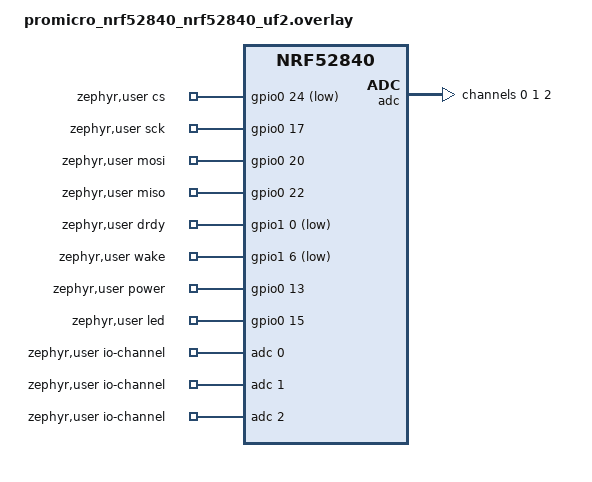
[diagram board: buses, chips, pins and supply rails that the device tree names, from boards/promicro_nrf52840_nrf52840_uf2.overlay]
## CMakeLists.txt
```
cmake_minimum_required(VERSION 3.20.0)
find_package(Zephyr REQUIRED HINTS $ENV{ZEPHYR_BASE})
project(sim_pedals)

target_include_directories(app PRIVATE ${CMAKE_CURRENT_SOURCE_DIR}/../common)
target_sources(app PRIVATE src/main.c src/ads1220.c)
```

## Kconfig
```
menu "Sim pedals"

config PEDALS_IDLE_MINUTES
	int "Default idle time before power off (minutes, 0 = never)"
	default 20

config PEDALS_ACTIVITY_THR_ADS
	int "Brake movement threshold for 'activity' (ADS1220 counts)"
	default 6000

config PEDALS_ACTIVITY_THR_ADC
	int "Clutch/throttle movement threshold for 'activity' (14-bit counts)"
	default 40

config PEDALS_EXT_POWER_CTRL
	bool "Switch sensor power rail (nice!nano VCC pin) with P0.13"
	default y
	help
	  Powers the sensors only while awake. UNVERIFIED polarity: assumed HIGH = on.
	  If the sensors stay dead, flip PEDALS_EXT_POWER_ACTIVE_HIGH.

config PEDALS_EXT_POWER_ACTIVE_HIGH
	bool "P0.13 HIGH enables the VCC pin"
	default y

config PEDALS_BATT_SENSE
	bool "Read battery voltage on P0.04 (AIN2, nice!nano divider 2:1)"
	default y

config PEDALS_LOW_BATT_MV
	int "Low battery flag threshold (mV)"
	default 3500

endmenu

source "Kconfig.zephyr"
```

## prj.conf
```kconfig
CONFIG_ESB=y
CONFIG_CLOCK_CONTROL=y
CONFIG_GPIO=y
CONFIG_SPI=n
CONFIG_ADC=y
CONFIG_POWEROFF=y
CONFIG_HWINFO=y
CONFIG_SERIAL=n
CONFIG_CONSOLE=n
CONFIG_UART_CONSOLE=n
CONFIG_LOG=n
CONFIG_PRINTK=n
CONFIG_USB_DEVICE_STACK=n
CONFIG_USB_DEVICE_STACK_NEXT=n
CONFIG_ESB_MAX_PAYLOAD_LENGTH=32
CONFIG_ESB_TX_FIFO_SIZE=4
CONFIG_ESB_RX_FIFO_SIZE=4
CONFIG_ESB_PIPE_COUNT=8
CONFIG_MAIN_STACK_SIZE=2048
CONFIG_BUILD_OUTPUT_UF2=y

# 32 kHz source: RC is safe on clones without the 32.768 kHz crystal
CONFIG_CLOCK_CONTROL_NRF_K32SRC_RC=y
CONFIG_CLOCK_CONTROL_NRF_K32SRC_500PPM=y
```

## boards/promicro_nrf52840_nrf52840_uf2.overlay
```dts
/* Pedals pin map (nice!nano v2 / ProMicro nRF52840 pinout, Pro Micro labels in brackets)
 *
 *  ADS1220 (brake load cell)       nRF pin   Pro Micro
 *    SCLK                          P0.17      D2
 *    DIN  (MOSI)                   P0.20      D3
 *    DOUT (MISO)                   P0.22      D4
 *    CS                            P0.24      D5
 *    DRDY                          P1.00      D6
 *  Clutch SS49E out                P0.31      A0 (21)  AIN7
 *  Throttle SS49E out              P0.29      A1 (20)  AIN5
 *  Battery divider (on board)      P0.04               AIN2
 *  Wake button (to GND)            P1.06      D9       (reset button also wakes)
 *  Sensor rail switch (on board)   P0.13
 *  LED (on board)                  P0.15
 */
#include <zephyr/dt-bindings/adc/adc.h>
#include <zephyr/dt-bindings/adc/nrf-saadc.h>
#include <zephyr/dt-bindings/gpio/gpio.h>

&uart0 { status = "disabled"; };
&i2c0  { status = "disabled"; };
&i2c1  { status = "disabled"; };
&pwm0  { status = "disabled"; };
&ieee802154 { status = "disabled"; };

/* ADS1220 is driven by software SPI on plain GPIO (see ads1220.c), no SPI peripheral needed */

&adc {
	#address-cells = <1>;
	#size-cells = <0>;

	channel@0 {   /* clutch */
		reg = <0>;
		zephyr,gain = "ADC_GAIN_1_6";
		zephyr,reference = "ADC_REF_INTERNAL";
		zephyr,vref-mv = <600>;
		zephyr,acquisition-time = <ADC_ACQ_TIME(ADC_ACQ_TIME_MICROSECONDS, 5)>;
		zephyr,input-positive = <NRF_SAADC_AIN7>;
		zephyr,resolution = <14>;
		zephyr,oversampling = <3>;
	};
	channel@1 {   /* throttle */
		reg = <1>;
		zephyr,gain = "ADC_GAIN_1_6";
		zephyr,reference = "ADC_REF_INTERNAL";
		zephyr,vref-mv = <600>;
		zephyr,acquisition-time = <ADC_ACQ_TIME(ADC_ACQ_TIME_MICROSECONDS, 5)>;
		zephyr,input-positive = <NRF_SAADC_AIN5>;
		zephyr,resolution = <14>;
		zephyr,oversampling = <3>;
	};
	channel@2 {   /* battery (divider 1:1 on nice!nano, 10 us is plenty for 1M... use 40 us) */
		reg = <2>;
		zephyr,gain = "ADC_GAIN_1_6";
		zephyr,reference = "ADC_REF_INTERNAL";
		zephyr,vref-mv = <600>;
		zephyr,acquisition-time = <ADC_ACQ_TIME(ADC_ACQ_TIME_MICROSECONDS, 40)>;
		zephyr,input-positive = <NRF_SAADC_AIN2>;
		zephyr,resolution = <12>;
	};
};

/ {
	zephyr,user {
		io-channels = <&adc 0>, <&adc 1>, <&adc 2>;
		cs-gpios    = <&gpio0 24 GPIO_ACTIVE_LOW>;
		sck-gpios   = <&gpio0 17 GPIO_ACTIVE_HIGH>;
		mosi-gpios  = <&gpio0 20 GPIO_ACTIVE_HIGH>;
		miso-gpios  = <&gpio0 22 GPIO_ACTIVE_HIGH>;
		drdy-gpios  = <&gpio1 0 (GPIO_ACTIVE_LOW | GPIO_PULL_UP)>;
		wake-gpios  = <&gpio1 6 (GPIO_ACTIVE_LOW | GPIO_PULL_UP)>;
		power-gpios = <&gpio0 13 GPIO_ACTIVE_HIGH>;
		led-gpios   = <&gpio0 15 GPIO_ACTIVE_HIGH>;
	};
};
```

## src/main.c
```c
/*
 * Sim pedals firmware (nRF52840, NCS 3.1.x / Zephyr)
 *   clutch, throttle : SS49E Hall sensors -> SAADC (14-bit, 16x oversampling)
 *   brake            : ADS1220 + load cell, 24-bit, 1000 SPS (drives the packet rate)
 *   link             : Nordic ESB PTX, 2 Mbps, one packet per ADS1220 sample (~1 kHz)
 *   power            : System OFF after idle timeout (default 20 min), wake by button / reset
 */
#include <stdlib.h>
#include <zephyr/kernel.h>
#include <zephyr/device.h>
#include <zephyr/drivers/gpio.h>
#include <zephyr/drivers/adc.h>
#include <zephyr/drivers/clock_control/nrf_clock_control.h>
#include <zephyr/sys/poweroff.h>
#include <nrf.h>
#include <esb.h>
#include "pedal_protocol.h"
#include "ads1220.h"

#define ZU DT_PATH(zephyr_user)

static const struct gpio_dt_spec g_drdy  = GPIO_DT_SPEC_GET(ZU, drdy_gpios);
static const struct gpio_dt_spec g_wake  = GPIO_DT_SPEC_GET(ZU, wake_gpios);
static const struct gpio_dt_spec g_power = GPIO_DT_SPEC_GET(ZU, power_gpios);
static const struct gpio_dt_spec g_led   = GPIO_DT_SPEC_GET(ZU, led_gpios);

static const struct adc_dt_spec adc_clutch   = ADC_DT_SPEC_GET_BY_IDX(ZU, 0);
static const struct adc_dt_spec adc_throttle = ADC_DT_SPEC_GET_BY_IDX(ZU, 1);
static const struct adc_dt_spec adc_batt     = ADC_DT_SPEC_GET_BY_IDX(ZU, 2);

static struct ads1220 ads = {
	.cs = GPIO_DT_SPEC_GET(ZU, cs_gpios),
	.sck = GPIO_DT_SPEC_GET(ZU, sck_gpios),
	.mosi = GPIO_DT_SPEC_GET(ZU, mosi_gpios),
	.miso = GPIO_DT_SPEC_GET(ZU, miso_gpios),
};

static K_SEM_DEFINE(drdy_sem, 0, 1);
static struct gpio_callback drdy_cb;

static volatile uint32_t idle_minutes = CONFIG_PEDALS_IDLE_MINUTES;
static volatile bool sleep_requested;
static volatile int64_t last_ack_ms;

/* ---------------------------------------------------------------- power rail */
static void rail(bool on)
{
#if CONFIG_PEDALS_EXT_POWER_CTRL
	bool level = on ? IS_ENABLED(CONFIG_PEDALS_EXT_POWER_ACTIVE_HIGH)
			: !IS_ENABLED(CONFIG_PEDALS_EXT_POWER_ACTIVE_HIGH);
	gpio_pin_configure_dt(&g_power, GPIO_OUTPUT);
	gpio_pin_set_raw(g_power.port, g_power.pin, level ? 1 : 0);
#else
	ARG_UNUSED(on);
#endif
}

static void go_sleep(void)
{
	ads1220_powerdown(&ads);
	esb_disable();
	gpio_pin_set_dt(&g_led, 0);
	rail(false);

	/* wake on button press (also: the reset button always wakes the board) */
	while (gpio_pin_get_dt(&g_wake) > 0) {
		k_msleep(20);                 /* wait until released, else instant wake */
	}
	gpio_pin_configure_dt(&g_wake, GPIO_INPUT);
	gpio_pin_interrupt_configure_dt(&g_wake, GPIO_INT_LEVEL_ACTIVE);
	sys_poweroff();
}

/* ---------------------------------------------------------------- ESB */
static void esb_handler(struct esb_evt const *ev)
{
	static struct esb_payload rx;

	switch (ev->evt_id) {
	case ESB_EVENT_TX_FAILED:
		esb_flush_tx();      /* never retry stale data */
		break;
	case ESB_EVENT_RX_RECEIVED:
		while (esb_read_rx_payload(&rx) == 0) {
			if (rx.length >= sizeof(struct pp_ack) && rx.data[0] == PP_PKT_ACK) {
				const struct pp_ack *a = (const struct pp_ack *)rx.data;

				last_ack_ms = k_uptime_get();
				if (a->cmd == PP_CMD_SLEEP) {
					sleep_requested = true;
				} else if (a->cmd == PP_CMD_SET_IDLE) {
					idle_minutes = a->p0;
				}
			}
		}
		break;
	default:
		break;
	}
}

static int clocks_start(void)
{
	struct onoff_manager *mgr = z_nrf_clock_control_get_onoff(CLOCK_CONTROL_NRF_SUBSYS_HF);
	struct onoff_client cli;
	int res, err;

	if (!mgr) {
		return -ENXIO;
	}
	sys_notify_init_spinwait(&cli.notify);
	err = onoff_request(mgr, &cli);
	if (err < 0) {
		return err;
	}
	do {
		err = sys_notify_fetch_result(&cli.notify, &res);
	} while (err == -EAGAIN);
	return err ? err : res;
}

static int radio_init(void)
{
	uint8_t b0[4] = PP_BASE_ADDR_0, b1[4] = PP_BASE_ADDR_1, pf[8] = PP_PREFIXES;
	struct esb_config c = ESB_DEFAULT_CONFIG;
	int err;

	c.protocol = ESB_PROTOCOL_ESB_DPL;
	c.mode = ESB_MODE_PTX;
	c.event_handler = esb_handler;
	c.bitrate = ESB_BITRATE_2MBPS;
	c.crc = ESB_CRC_16BIT;
	c.tx_output_power = 4;
	c.retransmit_delay = 600;   /* must exceed packet + ACK airtime incl. radio ramp-up */
	c.retransmit_count = 1;
	c.tx_mode = ESB_TXMODE_AUTO;
	c.selective_auto_ack = false;

	if ((err = esb_init(&c)) || (err = esb_set_base_address_0(b0)) ||
	    (err = esb_set_base_address_1(b1)) || (err = esb_set_prefixes(pf, 8)) ||
	    (err = esb_set_rf_channel(PP_RF_CHANNEL))) {
		return err;
	}
	return 0;
}

/* ---------------------------------------------------------------- sensors */
static int read_adc14(const struct adc_dt_spec *s)
{
	int16_t buf = 0;
	struct adc_sequence seq = {.buffer = &buf, .buffer_size = sizeof(buf)};

	adc_sequence_init_dt(s, &seq);
	if (adc_read_dt(s, &seq)) {
		return -1;
	}
	return buf < 0 ? 0 : buf;
}

static uint8_t read_batt_20mv(void)
{
#if CONFIG_PEDALS_BATT_SENSE
	int16_t buf = 0;
	struct adc_sequence seq = {.buffer = &buf, .buffer_size = sizeof(buf)};
	int32_t mv;

	adc_sequence_init_dt(&adc_batt, &seq);
	if (adc_read_dt(&adc_batt, &seq)) {
		return 0;
	}
	mv = buf;
	if (adc_raw_to_millivolts_dt(&adc_batt, &mv)) {
		return 0;
	}
	mv *= 2;                         /* on-board 1:1 divider (verify with a multimeter) */
	if (mv < 2500) {
		return 0;                /* no battery connected: unknown, no LOW flag */
	}
	return (uint8_t)MIN(mv / 20, 255);
#else
	return 0;
#endif
}

static void drdy_isr(const struct device *d, struct gpio_callback *cb, uint32_t pins)
{
	k_sem_give(&drdy_sem);
}

/* LED: no link = 100 ms blip every 0.5 s; link OK = one 15 ms blip every 3 s;
 * link OK but ADS1220 not working = two blips every 3 s */
static void led_blip(bool linked, bool ads_ok, int64_t now)
{
	if (!linked) {
		gpio_pin_set_dt(&g_led, (now % 500) < 100);
		return;
	}
	int64_t p = now % 3000;

	gpio_pin_set_dt(&g_led, p < 15 || (!ads_ok && p >= 150 && p < 165));
}

int main(void)
{
	bool ads_ok = false;
	int32_t brake = 0;
	uint8_t seq = 0, batt = 0;
	int ref_c = 0, ref_t = 0;
	int32_t ref_b = 0;
	uint32_t n = 0, miss = 0;
	int64_t last_act = k_uptime_get(), last_ads_try = -1000;
	struct esb_payload tx = {.pipe = PP_DEV_PEDALS};
	struct pp_data *pkt = (struct pp_data *)tx.data;

	gpio_pin_configure_dt(&g_led, GPIO_OUTPUT_INACTIVE);
	gpio_pin_configure_dt(&g_wake, GPIO_INPUT);
	gpio_pin_configure_dt(&g_drdy, GPIO_INPUT);
	rail(true);
	k_msleep(50);                            /* sensors power up */

	adc_channel_setup_dt(&adc_clutch);
	adc_channel_setup_dt(&adc_throttle);
#if CONFIG_PEDALS_BATT_SENSE
	adc_channel_setup_dt(&adc_batt);
#endif

	if (clocks_start() || radio_init()) {
		/* radio failed: fast LED, nothing else to do */
		for (;;) {
			gpio_pin_toggle_dt(&g_led);
			k_msleep(80);
		}
	}

	gpio_init_callback(&drdy_cb, drdy_isr, BIT(g_drdy.pin));
	gpio_add_callback(g_drdy.port, &drdy_cb);
	gpio_pin_interrupt_configure_dt(&g_drdy, GPIO_INT_EDGE_TO_ACTIVE);

	ref_c = read_adc14(&adc_clutch);
	ref_t = read_adc14(&adc_throttle);
	batt = read_batt_20mv();

	pkt->type = PP_PKT_DATA;
	pkt->dev_type = PP_DEV_PEDALS;
	pkt->uid = NRF_FICR->DEVICEID[0];

	for (;;) {
		int64_t now = k_uptime_get();

		/* (re)initialise the ADS1220 every 500 ms while it is not OK */
		if (!ads_ok && now - last_ads_try >= 500) {
			last_ads_try = now;
			ads_ok = (ads1220_init(&ads) == 0);
			miss = 0;
		}

		/* The radio never waits for the sensor chip: at most 2 ms per loop. */
		bool got = k_sem_take(&drdy_sem, K_MSEC(2)) == 0;
		bool drdy_active = gpio_pin_get_dt(&g_drdy) > 0; /* ACTIVE_LOW: active means physical LOW */

		if (ads_ok) {
			if (got || drdy_active) {
				miss = 0;
				if (ads1220_read(&ads, &brake)) {
					ads_ok = false;
					ads_diag.err = ADS_ERR_SPI;
				}
			} else if (++miss > 20) {            /* ~40 ms without a conversion */
				ads_ok = false;
				ads_diag.err = ADS_ERR_DRDY;
			}
		}
		if (!ads_ok) {
			brake = 0;
		}

		int c = read_adc14(&adc_clutch);
		int t = read_adc14(&adc_throttle);

		if (c < 0) c = 0;
		if (t < 0) t = 0;

		if ((n++ % 1000) == 0) {
			batt = read_batt_20mv();
		}

		/* activity detection */
		if (abs(c - ref_c) > CONFIG_PEDALS_ACTIVITY_THR_ADC) { ref_c = c; last_act = now; }
		if (abs(t - ref_t) > CONFIG_PEDALS_ACTIVITY_THR_ADC) { ref_t = t; last_act = now; }
		if (ads_ok && abs(brake - ref_b) > CONFIG_PEDALS_ACTIVITY_THR_ADS) {
			ref_b = brake; last_act = now;
		}

		pkt->seq = seq++;
		pkt->flags = (ads_ok ? 0 : (PP_FLAG_SENSOR_ERR | PP_FLAG_DIAG_EXT)) |
			     ((batt && batt * 20 < CONFIG_PEDALS_LOW_BATT_MV) ? PP_FLAG_LOW_BATT : 0);
		pkt->batt_20mv = batt;
		pkt->n_axes = 3; /* clutch, throttle, brake only */
		pp_put_i24(&pkt->axes[0], c);
		pp_put_i24(&pkt->axes[3], t);
		pp_put_i24(&pkt->axes[6], brake);
		if (!ads_ok) {
			struct pp_diag *diag = (struct pp_diag *)&pkt->axes[9];
			diag->error = ads_diag.err;
			diag->drdy_active = (drdy_active ? 1 : 0) | (ads_diag.miso_idle_high ? 2 : 0);
			diag->tries = ads_diag.tries;
			memcpy(diag->regs, ads_diag.regs, sizeof(diag->regs));
		}
		tx.length = ads_ok ? PP_DATA_LEN(pkt->n_axes) : PP_DATA_DIAG_LEN(pkt->n_axes);

		if (esb_tx_full()) {
			esb_flush_tx();
		}
		esb_write_payload(&tx);

		led_blip((now - last_ack_ms) < 300, ads_ok, now);

		if (sleep_requested ||
		    (idle_minutes && (now - last_act) > (int64_t)idle_minutes * 60000)) {
			go_sleep();
		}
	}
	return 0;
}
```

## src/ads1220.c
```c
/*
 * ADS1220 GPIO-SPI driver for a 4-wire load cell (NA151 etc.).
 * SPI mode 1: SCLK idles LOW, DIN is latched on falling edges, DOUT shifts
 * on rising edges. DIN is set while SCLK is low; DOUT is sampled after fall.
 * Every GPIO call is checked and the bus is returned to idle on failure.
 */
#include <errno.h>
#include <string.h>
#include <zephyr/kernel.h>
#include <zephyr/drivers/gpio.h>
#include "ads1220.h"

#define CMD_RESET  0x06
#define CMD_START  0x08
#define CMD_PWRDWN 0x02
#define CMD_RREG(r, n) (0x20 | ((r) << 2) | ((n) - 1))
#define CMD_WREG(r, n) (0x40 | ((r) << 2) | ((n) - 1))
#define REG0_VAL 0x0E /* AIN0-AIN1, gain 128, PGA enabled */
#define REG1_VAL 0xC4 /* 1000 SPS, normal mode, continuous conversion */
#define REG2_VAL 0xC0 /* AVDD/AVSS reference */
#define REG3_VAL 0x00 /* no IDAC routing, dedicated DRDY mode */
#define HALF_US 2     /* moderate timing margin; GPIO call overhead lowers the real SCLK further */

struct ads_diag ads_diag;

static int sw_byte(struct ads1220 *a, uint8_t out, uint8_t *in)
{
	uint8_t value = 0;
	for (int i = 7; i >= 0; --i) {
		int ret = gpio_pin_set_dt(&a->mosi, (out >> i) & 1);
		if (ret < 0) return ret;
		k_busy_wait(HALF_US);
		ret = gpio_pin_set_dt(&a->sck, 1);
		if (ret < 0) return ret;
		k_busy_wait(HALF_US);
		ret = gpio_pin_set_dt(&a->sck, 0);
		if (ret < 0) return ret;
		k_busy_wait(HALF_US);
		/* DOUT has already shifted on rising edge and remains stable through falling edge. */
		ret = gpio_pin_get_dt(&a->miso);
		if (ret < 0) return ret;
		value = (uint8_t)((value << 1) | (ret ? 1U : 0U));
	}
	/* A short margin between bytes; ADS1220 specifies a maximum SPI timeout, not a 4-tCLK minimum. */
	k_busy_wait(2);
	*in = value;
	return 0;
}

static int xfer(struct ads1220 *a, const uint8_t *tx, uint8_t *rx, size_t n)
{
	int ret = gpio_pin_set_dt(&a->sck, 0);
	if (ret < 0) return ret;
	ret = gpio_pin_set_dt(&a->mosi, 0);
	if (ret < 0) return ret;
	ret = gpio_pin_set_dt(&a->cs, 1); /* logical active = physical LOW (GPIO_ACTIVE_LOW) */
	if (ret < 0) {
		(void)gpio_pin_set_dt(&a->cs, 0);
		return ret;
	}
	k_busy_wait(2); /* CS setup margin, greater than the TI 50-ns minimum */

	for (size_t i = 0; i < n; ++i) {
		uint8_t value = 0;
		ret = sw_byte(a, tx[i], &value);
		if (ret < 0) break;
		if (rx != NULL) rx[i] = value;
	}

	/* Always deassert CS and restore idle clock/data even after transfer failure. */
	int sck_ret = gpio_pin_set_dt(&a->sck, 0);
	int mosi_ret = gpio_pin_set_dt(&a->mosi, 0);
	int cs_ret = gpio_pin_set_dt(&a->cs, 0); /* logical inactive = physical HIGH */
	if (ret == 0 && sck_ret < 0) ret = sck_ret;
	if (ret == 0 && mosi_ret < 0) ret = mosi_ret;
	if (ret == 0 && cs_ret < 0) ret = cs_ret;
	k_busy_wait(2); /* CS hold margin, greater than the TI 25-ns minimum */
	return ret;
}

int ads1220_init(struct ads1220 *a)
{
	const uint8_t reset = CMD_RESET, start = CMD_START;
	const uint8_t write_regs[5] = {CMD_WREG(0, 4), REG0_VAL, REG1_VAL, REG2_VAL, REG3_VAL};
	const uint8_t read_regs[5] = {CMD_RREG(0, 4), 0, 0, 0, 0};
	uint8_t back[5] = {0};
	int ret;

	if (ads_diag.tries < UINT8_MAX) ads_diag.tries++;
	ads_diag.err = ADS_ERR_DEV;
	ads_diag.miso_idle_high = 0;
	memset(ads_diag.regs, 0, sizeof(ads_diag.regs));
	if (!gpio_is_ready_dt(&a->cs) || !gpio_is_ready_dt(&a->sck) ||
	    !gpio_is_ready_dt(&a->mosi) || !gpio_is_ready_dt(&a->miso)) return -ENODEV;

	ret = gpio_pin_configure_dt(&a->cs, GPIO_OUTPUT_INACTIVE);
	if (ret < 0) return ret;
	ret = gpio_pin_configure_dt(&a->sck, GPIO_OUTPUT_INACTIVE);
	if (ret < 0) return ret;
	ret = gpio_pin_configure_dt(&a->mosi, GPIO_OUTPUT_INACTIVE);
	if (ret < 0) return ret;
	ret = gpio_pin_configure_dt(&a->miso, GPIO_INPUT | GPIO_PULL_UP);
	if (ret < 0) return ret;

	/*
	 * DOUT/DRDY is high-impedance whenever CS is inactive. Enable the nRF
	 * pull-up and verify the idle level before sending any commands.
	 * LOW here means MISO is shorted/held low or the selected GPIO is wrong.
	 */
	k_busy_wait(2);
	ret = gpio_pin_get_dt(&a->miso);
	if (ret < 0) { ads_diag.err = ADS_ERR_SPI; return ret; }
	ads_diag.miso_idle_high = ret ? 1 : 0;
	if (!ads_diag.miso_idle_high) {
		ads_diag.err = ADS_ERR_MISO_LOW_IDLE;
		return -EIO;
	}

	/* Datasheet power-up requirement is 2^14 master clocks; rail was enabled first. */
	k_msleep(5);
	ret = xfer(a, &reset, NULL, 1);
	if (ret < 0) { ads_diag.err = ADS_ERR_SPI; return ret; }
	k_msleep(2);
	ret = xfer(a, write_regs, NULL, sizeof(write_regs));
	if (ret < 0) { ads_diag.err = ADS_ERR_SPI; return ret; }
	k_busy_wait(20);
	ret = xfer(a, read_regs, back, sizeof(read_regs));
	if (ret < 0) { ads_diag.err = ADS_ERR_SPI; return ret; }

	for (int i = 0; i < 4; ++i) ads_diag.regs[i] = back[i + 1];
	if (back[1] != REG0_VAL || back[2] != REG1_VAL ||
	    back[3] != REG2_VAL || back[4] != REG3_VAL) {
		ads_diag.err = ADS_ERR_REGS;
		return -EIO;
	}
	ret = xfer(a, &start, NULL, 1);
	if (ret < 0) { ads_diag.err = ADS_ERR_SPI; return ret; }
	ads_diag.err = ADS_OK;
	return 0;
}

int ads1220_read(struct ads1220 *a, int32_t *out)
{
	const uint8_t tx[3] = {0, 0, 0};
	uint8_t rx[3] = {0, 0, 0};
	int ret;
	if (out == NULL) return -EINVAL;
	/* Continuous conversion: after DRDY falls, read data directly; no RDATA command. */
	ret = xfer(a, tx, rx, sizeof(tx));
	if (ret < 0) return ret;
	int32_t value = ((int32_t)rx[0] << 16) | ((int32_t)rx[1] << 8) | (int32_t)rx[2];
	if (value & 0x800000) value -= 0x1000000;
	*out = value;
	return 0;
}

void ads1220_powerdown(struct ads1220 *a)
{
	const uint8_t cmd = CMD_PWRDWN;
	(void)xfer(a, &cmd, NULL, 1);
}
```

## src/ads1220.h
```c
#ifndef ADS1220_H
#define ADS1220_H
#include <zephyr/device.h>
#include <zephyr/drivers/gpio.h>
#include <stdint.h>

/* Software (bit-banged) SPI mode 1 on plain GPIO: no Zephyr SPI driver, no pinctrl, nothing to fail but wiring. */
struct ads1220 {
	struct gpio_dt_spec cs, sck, mosi, miso;
};

/* what the last init attempt saw; goes into the radio packet when the chip is not OK */
enum ads_err { ADS_OK = 0, ADS_ERR_DEV = 1, ADS_ERR_REGS = 2, ADS_ERR_DRDY = 3, ADS_ERR_SPI = 4, ADS_ERR_MISO_LOW_IDLE = 5 };
struct ads_diag {
	uint8_t err;
	uint8_t regs[4];      /* REG0..REG3 as read back */
	uint8_t tries;
	uint8_t miso_idle_high; /* MISO must be pulled high while CS is inactive */
};
extern struct ads_diag ads_diag;

int  ads1220_init(struct ads1220 *a);          /* reset + configure + START (continuous 1000 SPS) */
int  ads1220_read(struct ads1220 *a, int32_t *out);   /* call after DRDY: signed 24-bit code */
void ads1220_powerdown(struct ads1220 *a);
#endif
```
